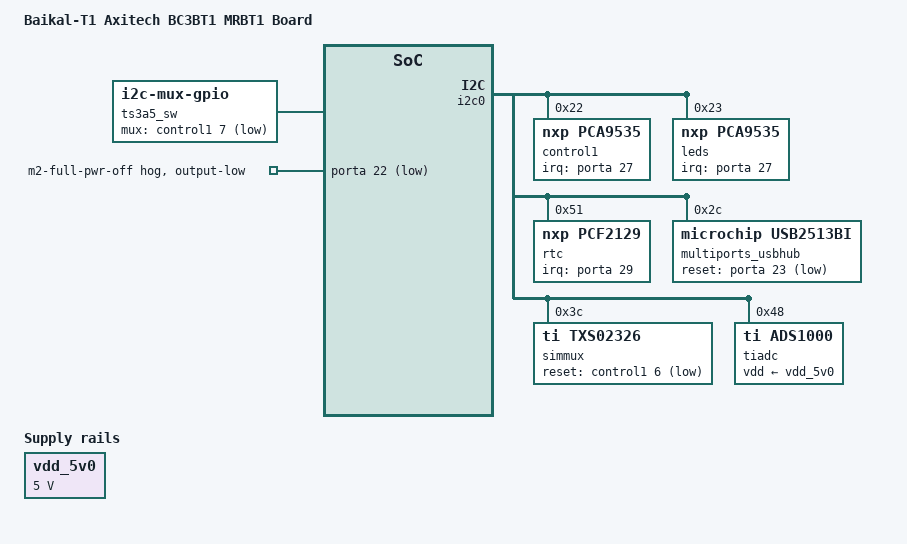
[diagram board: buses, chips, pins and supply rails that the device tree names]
/*
 * Baikal-T1 Axitech BC3BT1 MRBT1 board device tree
 *
 * Copyright (C) 2018 T-platforms JSC
 *
 * This program is free software; you can redistribute it and/or
 * modify it under the terms of the GNU General Public License
 * as published by the Free Software Foundation; either version 2
 * of the License, or (at your option) any later version.
 */

/dts-v1/;

#include "tplatforms_mrbt1.dtsi"

/ {
	model = "Baikal-T1 Axitech BC3BT1 MRBT1 Board";
	compatible = "baikal,mips", "baikal,baikal-t1-soc", "tplatforms,baikal-mrbt1-card", "tplatforms,baikal-bc3bt1-mrbt1-board";

	ts3a5_sw {
                compatible = "i2c-mux-gpio";
                #address-cells = <1>;
                #size-cells = <0>;
                i2c-parent = <&i2c0>;
                mux-gpios = <&control1 7 GPIO_ACTIVE_LOW>;
                idle-state = <0>; /* Noone is connected on idle */

		sd_master_bus: ts3a5_sw@1 {
			reg = <1>;
			#address-cells = <1>;
			#size-cells = <0>;

			sd_eeprom: eeprom@50 {
				/* 0x51 is occupied by rtc so use 256 bytes only */
				/*compatible = "atmel,24c04";*/
				compatible = "atmel,24c02";
				reg = <0x50>;
				pagesize = <16>;
			};
		};
	};

	vdd_5v0: fixedregulator@0 {
		compatible = "regulator-fixed";
		regulator-name = "vdd-ref";
		regulator-min-microvolt = <5000000>;
		regulator-max-microvolt = <5000000>;
		regulator-always-on;
	};
};

&gmac0 {
	/* Don't reset MDIO bus so the LEDs would be left initialized by U-boot */
	/delete-property/ snps,reset-gp-out;
};

&gmac0_phy {
	vsc8531,led-0-active-high;
	vsc8531,led-1-active-high;
	vsc8531,leds-drive-low-high;
};

&gmac1 {
	/* Don't reset MDIO bus so the LEDs would be left initialized by U-boot */
	/delete-property/ snps,reset-gp-out;
};

&gmac1_phy {
	vsc8531,led-0-active-high;
	vsc8531,led-1-active-high;
	vsc8531,leds-drive-low-high;
};

&porta {
	sd_reset {
		line-name = "m2-full-pwr-off";
		gpio-hog;
		gpios = <22 GPIO_ACTIVE_LOW>;
		output-low;
	};
};

&i2c0 {
	status = "okay";

	control1: gpioexp@22 {
		compatible = "nxp,pca9535";
		reg = <0x22>;
		gpio-controller;
		#gpio-cells = <2>;
		interrupt-parent = <&porta>;
		interrupts = <27 IRQ_TYPE_LEVEL_LOW>;
		interrupt-controller;
		#interrupt-cells = <2>;
		ngpios = <16>; /* Informative */

		sd_reset {
			line-name = "sd-reset";
			gpio-hog;
			gpios = <4 GPIO_ACTIVE_LOW>;
			output-low;
		};

		/* SIM multiplexer */
		/*gsm_reset {
			line-name = "gsm-reset";
			gpio-hog;
			gpios = <6 GPIO_ACTIVE_LOW>;
			output-low;
		};*/
		sim_sel {
			line-name = "sim-sel";
			gpio-hog;
			gpios = <14 GPIO_ACTIVE_HIGH>;
			output-low;
		};

		kam_uart_reset {
			line-name = "kam-uart-reset";
			gpio-hog;
			gpios = <9 GPIO_ACTIVE_LOW>;
			output-low;
		};

		debug_uart_reset {
			line-name = "debug-uart-reset";
			gpio-hog;
			gpios = <10 GPIO_ACTIVE_LOW>;
			output-low;
		};
	};

	leds: gpioexp@23 {
		compatible = "nxp,pca9535";
		reg = <0x23>;
		gpio-controller;
		#gpio-cells = <2>;
		interrupt-parent = <&porta>;
		interrupts = <27 IRQ_TYPE_LEVEL_LOW>;
		interrupt-controller;
		#interrupt-cells = <2>;
		ngpios = <16>; /* Informative */
	};

	rtc: rtc@51 {
		compatible = "nxp,pcf2129", "nxp,pcf2127";
		reg = <0x51>;
		interrupt-parent = <&porta>;
		interrupts = <29 IRQ_TYPE_LEVEL_LOW>;
	};

	multiports_usbhub: usb2513bi@2c {
		compatible = "microchip,usb2513bi";
		reg = <0x2c>;
		reset-gpio = <&porta 23 GPIO_ACTIVE_LOW>;
		/*reset-gpio = <&control1 11 GPIO_ACTIVE_LOW>;*/

		self-powered;
		multi-tt;
		disable-eop;
		individual-sensing;
		individual-port-switching;
		oc-delay-us = <8000>;
		non-removable-ports = <1 2>;
		sp-max-total-current-microamp = <200000>;
		bp-max-total-current-microamp = <200000>;
		sp-max-removable-current-microamp = <200000>;
		bp-max-removable-current-microamp = <200000>;
		power-on-time-ms = <100>;
		us-lanes-inverted;
	};

	simmux: simmux@3c {
		compatible = "ti,txs02326";
		reg = <0x3c>;
		reset-gpio = <&control1 6 GPIO_ACTIVE_LOW>;
	};

	tiadc: ads1000@48 {
		compatible = "ti,ads1000";
		reg = <0x48>;

		vdd-supply = <&vdd_5v0>;
		ti,gain = <0>;
		ti,voltage-divider = <31600 3600>;
	};
};

&spi1 {
	status = "disabled";
};
